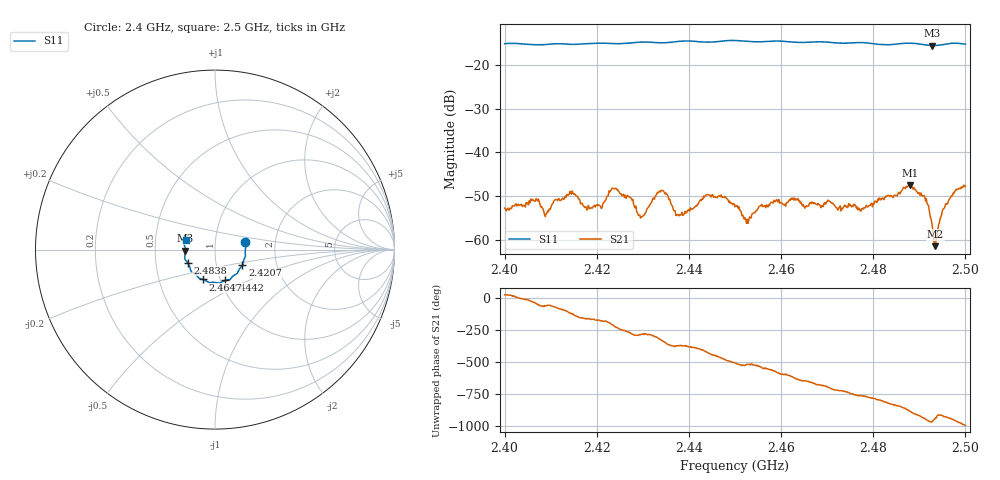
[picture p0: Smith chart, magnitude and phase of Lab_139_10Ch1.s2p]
# Hz S RI R 50
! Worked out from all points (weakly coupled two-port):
!   601 points, 2.4 GHz to 2.5 GHz, reference 50 ohm
!   highest |S21| = -47.47 dB at 2.488 GHz (marker M1); lowest = -61.4 dB at 2.4935 GHz (marker M2)
!   lowest |S11| = -15.6 dB at 2.4928 GHz (marker M3), VSWR 1.40, Z = 35.8 - j0.408 ohm
!   |S11| at or under -10 dB: start of sweep to end of sweep
!   S12 and S22 are empty: the file has one direction only
!   S11 on the Smith chart (normalised r, x): 2.4 GHz: 1.40, +0.12; 2.4207 GHz: 1.33, -0.24; 2.4442 GHz: 1.05, -0.37; 2.4647 GHz: 0.83, -0.29; 2.4838 GHz: 0.73, -0.11; 2.5 GHz: 0.72, +0.08
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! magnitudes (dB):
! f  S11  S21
! 2.4 GHz  -15.2  -52.7
! 2.4167 GHz  -15.3  -51.7
! 2.4207 GHz  -15.1  -52.2
! 2.424 GHz  -15.2  -48.2
! 2.4298 GHz  -14.8  -54.7
! 2.4333 GHz  -15.0  -49.2
! 2.4377 GHz  -14.7  -54.2
! 2.4442 GHz  -14.9  -49.7
! 2.45 GHz  -14.5  -52.4
! 2.4525 GHz  -14.7  -56.2
! 2.459 GHz  -14.6  -50.8
! 2.4647 GHz  -14.9  -52.2
! 2.4667 GHz  -14.8  -51.4
! 2.4772 GHz  -14.9  -53.3
! 2.4833 GHz  -15.5  -49.8
! 2.4838 GHz  -15.4  -49.8
! 2.488 GHz  -15.1  -47.5
! 2.4915 GHz  -15.5  -50.6
! 2.4928 GHz  -15.6  -57.1
! 2.4935 GHz  -15.6  -61.4
! 2.4955 GHz  -15.3  -52.6
! 2.5 GHz  -15.3  -47.7
